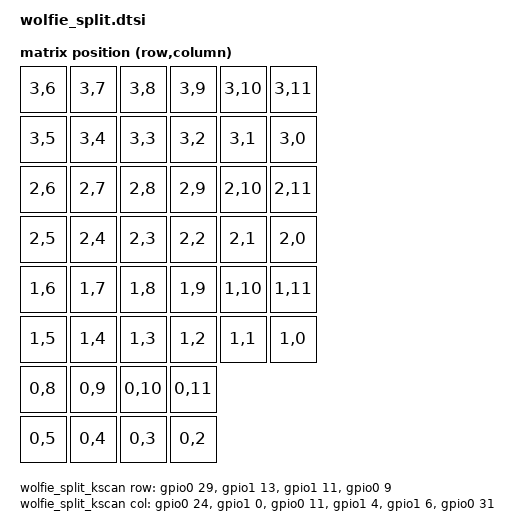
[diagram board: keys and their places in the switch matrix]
/*
 * Wolfie 44-key wireless split. Right nice!nano is central, left peripheral.
 * Shared 44-position transform: logical physical rows (L then R).
 * GPIO connections and diode direction are inherited from tested standalone builds.
 */
#include <dt-bindings/zmk/matrix_transform.h>
#include <zephyr/dt-bindings/gpio/gpio.h>

/ {
    wolfie_split_kscan: wolfie_split_kscan {
        compatible = "zmk,kscan-gpio-matrix";
        diode-direction = "col2row";
        wakeup-source;
        row-gpios = <&gpio0 29 (GPIO_ACTIVE_HIGH | GPIO_PULL_DOWN)>,
                    <&gpio1 13 (GPIO_ACTIVE_HIGH | GPIO_PULL_DOWN)>,
                    <&gpio1 11 (GPIO_ACTIVE_HIGH | GPIO_PULL_DOWN)>,
                    <&gpio0 9 (GPIO_ACTIVE_HIGH | GPIO_PULL_DOWN)>;
        col-gpios = <&gpio0 24 GPIO_ACTIVE_HIGH>,
                    <&gpio1 0 GPIO_ACTIVE_HIGH>,
                    <&gpio0 11 GPIO_ACTIVE_HIGH>,
                    <&gpio1 4 GPIO_ACTIVE_HIGH>,
                    <&gpio1 6 GPIO_ACTIVE_HIGH>,
                    <&gpio0 31 GPIO_ACTIVE_HIGH>;
    };

    wolfie_split_transform: wolfie_split_transform {
        compatible = "zmk,matrix-transform";
        rows = <4>;
        columns = <12>;
        map = <
            /* Physical top: left scan row3 c0..5; right row3 c5..0 */
            RC(3,6) RC(3,7) RC(3,8) RC(3,9) RC(3,10) RC(3,11)
            RC(3,5) RC(3,4) RC(3,3) RC(3,2) RC(3,1) RC(3,0)
            /* Home */
            RC(2,6) RC(2,7) RC(2,8) RC(2,9) RC(2,10) RC(2,11)
            RC(2,5) RC(2,4) RC(2,3) RC(2,2) RC(2,1) RC(2,0)
            /* Bottom */
            RC(1,6) RC(1,7) RC(1,8) RC(1,9) RC(1,10) RC(1,11)
            RC(1,5) RC(1,4) RC(1,3) RC(1,2) RC(1,1) RC(1,0)
            /* 4 left thumbs then 4 right thumbs */
            RC(0,8) RC(0,9) RC(0,10) RC(0,11)
            RC(0,5) RC(0,4) RC(0,3) RC(0,2)
        >;
    };

    physical_layouts {
        compatible = "zmk,physical-layouts";
        wolfie_split_layout: wolfie_split_layout {
            compatible = "zmk,physical-layout";
            display-name = "Wolfie 44-key split";
            kscan = <&wolfie_split_kscan>;
            transform = <&wolfie_split_transform>;
        };
    };
    chosen { zmk,physical-layout = &wolfie_split_layout; };
};
